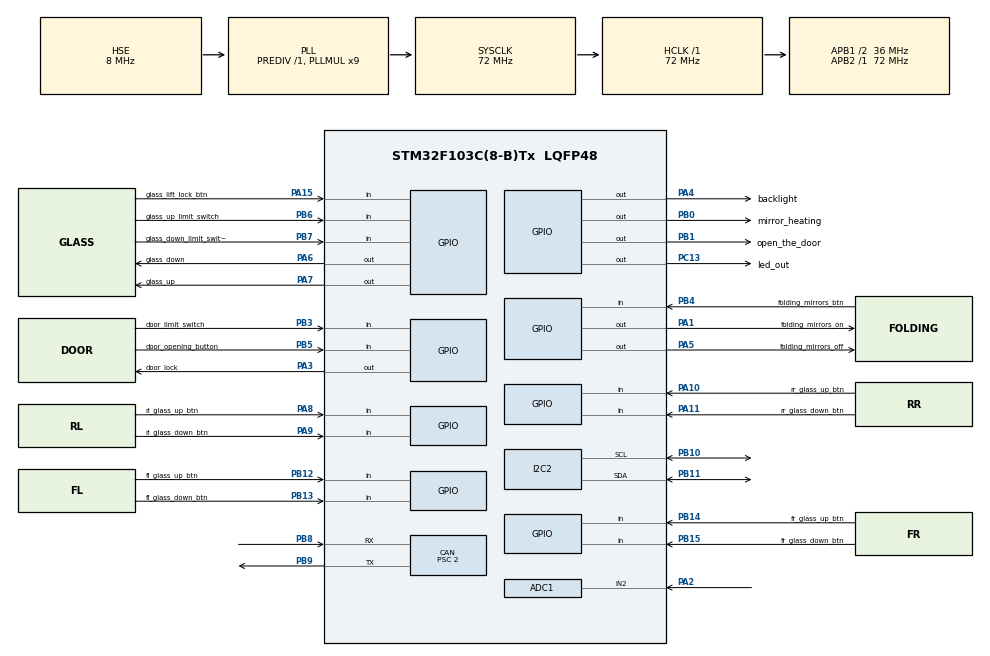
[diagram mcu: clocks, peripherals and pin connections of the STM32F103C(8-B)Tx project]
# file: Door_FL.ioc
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ADC1.Channel-1\#ChannelInjectedConversion=ADC_CHANNEL_2
ADC1.EnableInjectedConversion=ENABLE
ADC1.EnableRegularConversion=DISABLE
ADC1.InjNumberOfConversion=1
ADC1.InjectedOffset-1\#ChannelInjectedConversion=0
ADC1.InjectedRank-1\#ChannelInjectedConversion=1
ADC1.SamplingTime-1\#ChannelInjectedConversion=ADC_SAMPLETIME_239CYCLES_5
ADC1.master=1
CAN.BS1=CAN_BS1_15TQ
CAN.BS2=CAN_BS2_2TQ
CAN.CalculateBaudRate=1000000
CAN.CalculateTimeBit=1000
CAN.CalculateTimeQuantum=55.55555555555556
CAN.Mode=CAN_MODE_NORMAL
CAN.Prescaler=2
FREERTOS.INCLUDE_vTaskDelete=0
FREERTOS.Tasks01=defaultTask,0,128,StartDefaultTask,Default,NULL,Dynamic,NULL,NULL;Display,0,256,ProctDisplay,Default,NULL,Dynamic,NULL,NULL;ButtonRead,0,128,ProctButtonRead,Default,NULL,Dynamic,NULL,NULL;Outputs,-3,128,ProctOutputs,Default,NULL,Dynamic,NULL,NULL;Backlight,0,128,ProctBacklight,Default,NULL,Dynamic,NULL,NULL;FoldingMirrors,0,128,ProctFoldingMirrors,Default,NULL,Dynamic,NULL,NULL;GlassLiftLock,0,128,ProctGlassLiftLock,Default,NULL,Dynamic,NULL,NULL
FREERTOS.configGENERATE_RUN_TIME_STATS=1
FREERTOS.configMINIMAL_STACK_SIZE=128
FREERTOS.configTOTAL_HEAP_SIZE=10240
FREERTOS.configUSE_IDLE_HOOK=1
FREERTOS.configUSE_STATS_FORMATTING_FUNCTIONS=1
FREERTOS.configUSE_TRACE_FACILITY=1
I2C2.I2C_Mode=I2C_Fast
Mcu.Family=STM32F1
Mcu.Name=STM32F103C(8-B)Tx
Mcu.Package=LQFP48
NVIC.ADC1_2_IRQn=true\:5\:0\:false\:false\:true\:true\:true\:true\:true
NVIC.PriorityGroup=NVIC_PRIORITYGROUP_4
NVIC.TIM4_IRQn=true\:15\:0\:false\:false\:true\:false\:false\:true\:true
NVIC.TimeBase=TIM4_IRQn
NVIC.TimeBaseIP=TIM4
NVIC.USB_LP_CAN1_RX0_IRQn=true\:5\:0\:false\:false\:true\:true\:true\:true\:true
PA1.GPIO_Label=folding_mirrors_on
PA1.GPIO_PuPd=GPIO_PULLUP
PA1.Signal=GPIO_Output
PA10.GPIO_Label=rr_glass_up_btn
PA10.GPIO_Mode=GPIO_MODE_INPUT
PA10.GPIO_PuPd=GPIO_PULLUP
PA10.Signal=GPIO_Input
PA11.GPIO_Label=rr_glass_down_btn
PA11.GPIO_Mode=GPIO_MODE_INPUT
PA11.GPIO_PuPd=GPIO_PULLUP
PA11.Signal=GPIO_Input
PA13.Mode=Serial_Wire
PA13.Signal=SYS_JTMS-SWDIO
PA14.Mode=Serial_Wire
PA14.Signal=SYS_JTCK-SWCLK
PA15.GPIO_Label=glass_lift_lock_btn
PA15.GPIO_Mode=GPIO_MODE_INPUT
PA15.GPIO_PuPd=GPIO_PULLUP
PA15.Signal=GPIO_Input
PA2.Signal=ADCx_IN2
PA3.GPIO_Label=door_lock
PA3.GPIO_PuPd=GPIO_PULLDOWN
PA3.Signal=GPIO_Output
PA4.GPIO_Label=backlight
PA4.GPIO_PuPd=GPIO_PULLDOWN
PA4.Signal=GPIO_Output
PA5.GPIO_Label=folding_mirrors_off
PA5.GPIO_ModeDefaultOutputPP=GPIO_MODE_OUTPUT_PP
PA5.GPIO_PuPd=GPIO_PULLDOWN
PA5.GPIO_Speed=GPIO_SPEED_FREQ_LOW
PA5.PinState=GPIO_PIN_RESET
PA5.Signal=GPIO_Output
PA6.GPIO_Label=glass_down
PA6.GPIO_ModeDefaultOutputPP=GPIO_MODE_OUTPUT_PP
PA6.GPIO_PuPd=GPIO_PULLDOWN
PA6.GPIO_Speed=GPIO_SPEED_FREQ_LOW
PA6.PinState=GPIO_PIN_RESET
PA6.Signal=GPIO_Output
PA7.GPIO_Label=glass_up
PA7.GPIO_ModeDefaultOutputPP=GPIO_MODE_OUTPUT_PP
PA7.GPIO_PuPd=GPIO_PULLDOWN
PA7.GPIO_Speed=GPIO_SPEED_FREQ_LOW
PA7.PinState=GPIO_PIN_RESET
PA7.Signal=GPIO_Output
PA8.GPIO_Label=rl_glass_up_btn
PA8.GPIO_Mode=GPIO_MODE_INPUT
PA8.GPIO_PuPd=GPIO_PULLUP
PA8.Signal=GPIO_Input
PA9.GPIO_Label=rl_glass_down_btn
PA9.GPIO_Mode=GPIO_MODE_INPUT
PA9.GPIO_PuPd=GPIO_PULLUP
PA9.Signal=GPIO_Input
PB0.GPIO_Label=mirror_heating
PB0.GPIO_ModeDefaultOutputPP=GPIO_MODE_OUTPUT_PP
PB0.GPIO_PuPd=GPIO_PULLDOWN
PB0.GPIO_Speed=GPIO_SPEED_FREQ_LOW
PB0.PinState=GPIO_PIN_RESET
PB0.Signal=GPIO_Output
PB1.GPIO_Label=open_the_door
PB1.GPIO_ModeDefaultOutputPP=GPIO_MODE_OUTPUT_PP
PB1.GPIO_PuPd=GPIO_PULLDOWN
PB1.GPIO_Speed=GPIO_SPEED_FREQ_LOW
PB1.PinState=GPIO_PIN_RESET
PB1.Signal=GPIO_Output
PB10.Mode=I2C
PB10.Signal=I2C2_SCL
PB11.Mode=I2C
PB11.Signal=I2C2_SDA
PB12.GPIO_Label=fl_glass_up_btn
PB12.GPIO_PuPd=GPIO_PULLUP
PB12.Signal=GPIO_Input
PB13.GPIO_Label=fl_glass_down_btn
PB13.GPIO_PuPd=GPIO_PULLUP
PB13.Signal=GPIO_Input
PB14.GPIO_Label=fr_glass_up_btn
PB14.GPIO_PuPd=GPIO_PULLUP
PB14.Signal=GPIO_Input
PB15.GPIO_Label=fr_glass_down_btn
PB15.GPIO_PuPd=GPIO_PULLUP
PB15.Signal=GPIO_Input
PB3.GPIO_Label=door_limit_switch
PB3.GPIO_PuPd=GPIO_PULLUP
PB3.Signal=GPIO_Input
PB4.GPIO_Label=folding_mirrors_btn
PB4.GPIO_PuPd=GPIO_PULLUP
PB4.Signal=GPIO_Input
PB5.GPIO_Label=door_opening_button
PB5.GPIO_PuPd=GPIO_PULLUP
PB5.Signal=GPIO_Input
PB6.GPIO_Label=glass_up_limit_switch
PB6.GPIO_PuPd=GPIO_PULLUP
PB6.Signal=GPIO_Input
PB7.GPIO_Label=glass_down_limit_switch
PB7.GPIO_PuPd=GPIO_PULLUP
PB7.Signal=GPIO_Input
PB8.Mode=CAN_Activate
PB8.Signal=CAN_RX
PB9.Mode=CAN_Activate
PB9.Signal=CAN_TX
PC13-TAMPER-RTC.GPIO_Label=led_out
PC13-TAMPER-RTC.GPIO_PuPd=GPIO_PULLUP
PC13-TAMPER-RTC.PinState=GPIO_PIN_SET
PC13-TAMPER-RTC.Signal=GPIO_Output
PD0-OSC_IN.Mode=HSE-External-Oscillator
PD0-OSC_IN.Signal=RCC_OSC_IN
PD1-OSC_OUT.Mode=HSE-External-Oscillator
PD1-OSC_OUT.Signal=RCC_OSC_OUT
ProjectManager.HeapSize=0x200
ProjectManager.StackSize=0x400
ProjectManager.TargetToolchain=MDK-ARM V5.32
RCC.ADCPresc=RCC_ADCPCLK2_DIV6
RCC.AHBFreq_Value=72000000
RCC.APB1CLKDivider=RCC_HCLK_DIV2
RCC.APB1Freq_Value=36000000
RCC.APB1TimFreq_Value=72000000
RCC.APB2Freq_Value=72000000
RCC.APB2TimFreq_Value=72000000
RCC.HCLKFreq_Value=72000000
RCC.PLLMUL=RCC_PLL_MUL9
RCC.PLLSourceVirtual=RCC_PLLSOURCE_HSE
RCC.SYSCLKFreq_VALUE=72000000
RCC.SYSCLKSource=RCC_SYSCLKSOURCE_PLLCLK
RCC.USBFreq_Value=72000000
SH.ADCx_IN2.0=ADC1_IN2,IN2
VP_FREERTOS_VS_CMSIS_V1.Mode=CMSIS_V1
VP_SYS_VS_tim4.Mode=TIM4
board=custom

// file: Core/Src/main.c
/* USER CODE BEGIN Header */
/**
  ******************************************************************************
  * @file           : main.c
  * @brief          : Main program body
  ******************************************************************************
  * @attention
  *
  * Copyright (c) 2022 STMicroelectronics.
  * All rights reserved.
  *
  * This software is licensed under terms that can be found in the LICENS
	E fileCan_Tx
  * in the root directory of this software component.
  * If no LICENSE file comes with this software, it is provided AS-IS.
  *
  ******************************************************************************
  */
/* USER CODE END Header */
#include "main.h"
#include "cmsis_os.h"

/* USER CODE BEGIN Includes */
#include <stdio.h>
#include <stdbool.h>
#include "ssd1306.h"
#include "string.h"
/* USER CODE END Includes */

/* USER CODE BEGIN PD */
#define fl_motor_current 15

#define fl_glass_Stop 0
#define fl_glass_Up 1
#define fl_glass_Down 2
//#define fl_glass_closer_On 13
#define fl_glass_closer_Ok 14
//#define fl_glass_blocking_On 15
//#define fl_glass_blocking_Off 16
#define glass_btn_time 150

//#define fl_mirror_heating_On 11
//#define fl_mirror_heating_Off 10
//#define fl_mirror_folding_On 11
//#define fl_mirror_folding_Off 10

#define glass_closer_ok 14

#define fr_glass_Stop 20
#define fr_glass_Up 21
#define fr_glass_Down 22
#define fr_glass_closer_On 23
#define fr_glass_closer_Ok 24
#define fr_glass_blocking_On 25
#define fr_glass_blocking_Off 26

#define fr_mirror_heating_On 21
#define fr_mirror_heating_Off 20
/* USER CODE END PD */

ADC_HandleTypeDef hadc1;

CAN_HandleTypeDef hcan;

I2C_HandleTypeDef hi2c2;

osThreadId defaultTaskHandle;
osThreadId DisplayHandle;
osThreadId ButtonReadHandle;
osThreadId OutputsHandle;
osThreadId BacklightHandle;
osThreadId FoldingMirrorsHandle;
osThreadId GlassLiftLockHandle;
/* USER CODE BEGIN PV */
CAN_TxHeaderTypeDef TxHeader;
CAN_RxHeaderTypeDef RxHeader;
uint8_t TxData[8] = {255,255,255,};
uint8_t RxData[8] = {255,255,255,};
uint32_t TxMailbox = 0;
#define can_addr_door_fl 0x0001
#define can_addr_door_fr 0x0002
bool Can_Rx = 0, Can_Tx = 0;

bool adc1_flag = 0, glass_closer_on = 0, glass_blocking = 0, folding_mirrors_btn_b = 0, glass_lift_lock_btn_b = 0;
float adc1_value = 0, current = 0;

uint8_t fl_glass = 0, fr_glass = 0, rl_glass = 0, rr_glass = 0;

uint16_t fl_glass_btn_time = 0, fr_glass_btn_time = 0, rl_glass_btn_time = 0, rr_glass_btn_time = 0;
uint16_t fl_glass_time = 0;

uint16_t folding_mirrors_btn_time = 0, glass_lift_lock_btn_time = 0;
bool mirror_folding = 0;

bool door_fl_closer_ok = 0, door_fr_closer_ok = 0, glass_closer_all_ok = 0;
/* USER CODE END PV */

void SystemClock_Config(void);
static void MX_GPIO_Init(void);
static void MX_I2C2_Init(void);
static void MX_ADC1_Init(void);
static void MX_CAN_Init(void);
void StartDefaultTask(void const * argument);
void ProctDisplay(void const * argument);
void ProctButtonRead(void const * argument);
void ProctOutputs(void const * argument);
void ProctBacklight(void const * argument);
void ProctFoldingMirrors(void const * argument);
void ProctGlassLiftLock(void const * argument);

/* USER CODE BEGIN 0 */
void HAL_ADCEx_InjectedConvCpltCallback(ADC_HandleTypeDef *hadc) {
	if(hadc->Instance == ADC1){
		adc1_value = HAL_ADCEx_InjectedGetValue(&hadc1, ADC_INJECTED_RANK_1);
		current = (adc1_value*40.0f)/4095;
		adc1_flag = 1;
	}
}

void HAL_CAN_RxFifo0MsgPendingCallback(CAN_HandleTypeDef *hcan)
{
	if(HAL_CAN_GetRxMessage(hcan, CAN_RX_FIFO0, &RxHeader, RxData) == HAL_OK)
  {
		if(RxHeader.StdId == can_addr_door_fl)  Can_Rx = 1;
  }
}

void HAL_CAN_ErrorCallback(CAN_HandleTypeDef *hcan)
{
    uint32_t er = HAL_CAN_GetError(hcan);
//    sprintf(trans_str,"ER CAN %lu %08lX", er, er);
//    HAL_UART_Transmit(&huart1, (uint8_t*)trans_str, strlen(trans_str), 100);
}
/* USER CODE END 0 */

int main(void)
{

  /* MCU Configuration--------------------------------------------------------*/

  /* Reset of all peripherals, Initializes the Flash interface and the Systick. */
  HAL_Init();

  /* Configure the system clock */
  SystemClock_Config();

  /* Initialize all configured peripherals */
  MX_GPIO_Init();
  MX_I2C2_Init();
  MX_ADC1_Init();
  MX_CAN_Init();
  /* USER CODE BEGIN 2 */

	HAL_ADCEx_Calibration_Start(&hadc1);
	HAL_ADCEx_InjectedStart_IT(&hadc1);

	TxHeader.StdId = 0x0001;
	TxHeader.ExtId = 0;
	TxHeader.RTR = CAN_RTR_DATA; //CAN_RTR_REMOTE
	TxHeader.IDE = CAN_ID_STD;   // CAN_ID_EXT
	TxHeader.DLC = 8;
	TxHeader.TransmitGlobalTime = 0;

	HAL_CAN_Start(&hcan);
	HAL_CAN_ActivateNotification(&hcan, CAN_IT_RX_FIFO0_MSG_PENDING | CAN_IT_ERROR | CAN_IT_BUSOFF | CAN_IT_LAST_ERROR_CODE);

	GPIOB->BRR = open_the_door_Pin; // ULN2003a 1
	GPIOB->BRR = mirror_heating_Pin; // ULN2003a 2
	GPIOA->BRR = glass_up_Pin; // реле подьема стекла выкл 3
	GPIOA->BRR = glass_down_Pin; // реле подьема стекла выкл 4
	GPIOA->BRR = folding_mirrors_on_Pin; //
  GPIOA->BRR = folding_mirrors_off_Pin;
	GPIOA->BRR = backlight_Pin; // ULN2003a 6

  /* USER CODE END 2 */

  /* Create the thread(s) */
  /* definition and creation of defaultTask */
  osThreadDef(defaultTask, StartDefaultTask, osPriorityNormal, 0, 128);
  defaultTaskHandle = osThreadCreate(osThread(defaultTask), NULL);

  /* definition and creation of Display */
  osThreadDef(Display, ProctDisplay, osPriorityNormal, 0, 256);
  DisplayHandle = osThreadCreate(osThread(Display), NULL);

  /* definition and creation of ButtonRead */
  osThreadDef(ButtonRead, ProctButtonRead, osPriorityNormal, 0, 128);
  ButtonReadHandle = osThreadCreate(osThread(ButtonRead), NULL);

  /* definition and creation of Outputs */
  osThreadDef(Outputs, ProctOutputs, osPriorityIdle, 0, 128);
  OutputsHandle = osThreadCreate(osThread(Outputs), NULL);

  /* definition and creation of Backlight */
  osThreadDef(Backlight, ProctBacklight, osPriorityNormal, 0, 128);
  BacklightHandle = osThreadCreate(osThread(Backlight), NULL);

  /* definition and creation of FoldingMirrors */
  osThreadDef(FoldingMirrors, ProctFoldingMirrors, osPriorityNormal, 0, 128);
  FoldingMirrorsHandle = osThreadCreate(osThread(FoldingMirrors), NULL);

  /* definition and creation of GlassLiftLock */
  osThreadDef(GlassLiftLock, ProctGlassLiftLock, osPriorityNormal, 0, 128);
  GlassLiftLockHandle = osThreadCreate(osThread(GlassLiftLock), NULL);

  /* Start scheduler */
  osKernelStart();

  /* We should never get here as control is now taken by the scheduler */
  /* Infinite loop */
  while (1)
  {

  }
}

void SystemClock_Config(void)
{
  RCC_OscInitTypeDef RCC_OscInitStruct = {0};
  RCC_ClkInitTypeDef RCC_ClkInitStruct = {0};
  RCC_PeriphCLKInitTypeDef PeriphClkInit = {0};

  /** Initializes the RCC Oscillators according to the specified parameters
  * in the RCC_OscInitTypeDef structure.
  */
  RCC_OscInitStruct.OscillatorType = RCC_OSCILLATORTYPE_HSE;
  RCC_OscInitStruct.HSEState = RCC_HSE_ON;
  RCC_OscInitStruct.HSEPredivValue = RCC_HSE_PREDIV_DIV1;
  RCC_OscInitStruct.HSIState = RCC_HSI_ON;
  RCC_OscInitStruct.PLL.PLLState = RCC_PLL_ON;
  RCC_OscInitStruct.PLL.PLLSource = RCC_PLLSOURCE_HSE;
  RCC_OscInitStruct.PLL.PLLMUL = RCC_PLL_MUL9;
  if (HAL_RCC_OscConfig(&RCC_OscInitStruct) != HAL_OK)
  {
    Error_Handler();
  }

  /** Initializes the CPU, AHB and APB buses clocks
  */
  RCC_ClkInitStruct.ClockType = RCC_CLOCKTYPE_HCLK|RCC_CLOCKTYPE_SYSCLK
                              |RCC_CLOCKTYPE_PCLK1|RCC_CLOCKTYPE_PCLK2;
  RCC_ClkInitStruct.SYSCLKSource = RCC_SYSCLKSOURCE_PLLCLK;
  RCC_ClkInitStruct.AHBCLKDivider = RCC_SYSCLK_DIV1;
  RCC_ClkInitStruct.APB1CLKDivider = RCC_HCLK_DIV2;
  RCC_ClkInitStruct.APB2CLKDivider = RCC_HCLK_DIV1;

  if (HAL_RCC_ClockConfig(&RCC_ClkInitStruct, FLASH_LATENCY_2) != HAL_OK)
  {
    Error_Handler();
  }
  PeriphClkInit.PeriphClockSelection = RCC_PERIPHCLK_ADC;
  PeriphClkInit.AdcClockSelection = RCC_ADCPCLK2_DIV6;
  if (HAL_RCCEx_PeriphCLKConfig(&PeriphClkInit) != HAL_OK)
  {
    Error_Handler();
  }
}

static void MX_ADC1_Init(void)
{

  ADC_InjectionConfTypeDef sConfigInjected = {0};

  /** Common config
  */
  hadc1.Instance = ADC1;
  hadc1.Init.ScanConvMode = ADC_SCAN_DISABLE;
  hadc1.Init.ContinuousConvMode = DISABLE;
  hadc1.Init.DiscontinuousConvMode = DISABLE;
  hadc1.Init.ExternalTrigConv = ADC_SOFTWARE_START;
  hadc1.Init.DataAlign = ADC_DATAALIGN_RIGHT;
  hadc1.Init.NbrOfConversion = 1;
  if (HAL_ADC_Init(&hadc1) != HAL_OK)
  {
    Error_Handler();
  }

  /** Configure Injected Channel
  */
  sConfigInjected.InjectedChannel = ADC_CHANNEL_2;
  sConfigInjected.InjectedRank = ADC_INJECTED_RANK_1;
  sConfigInjected.InjectedNbrOfConversion = 1;
  sConfigInjected.InjectedSamplingTime = ADC_SAMPLETIME_239CYCLES_5;
  sConfigInjected.ExternalTrigInjecConv = ADC_INJECTED_SOFTWARE_START;
  sConfigInjected.AutoInjectedConv = DISABLE;
  sConfigInjected.InjectedDiscontinuousConvMode = DISABLE;
  sConfigInjected.InjectedOffset = 0;
  if (HAL_ADCEx_InjectedConfigChannel(&hadc1, &sConfigInjected) != HAL_OK)
  {
    Error_Handler();
  }

}

static void MX_CAN_Init(void)
{

  /* USER CODE BEGIN CAN_Init 0 */
	CAN_FilterTypeDef  sFilterConfig;
  /* USER CODE END CAN_Init 0 */

  hcan.Instance = CAN1;
  hcan.Init.Prescaler = 2;
  hcan.Init.Mode = CAN_MODE_NORMAL;
  hcan.Init.SyncJumpWidth = CAN_SJW_1TQ;
  hcan.Init.TimeSeg1 = CAN_BS1_15TQ;
  hcan.Init.TimeSeg2 = CAN_BS2_2TQ;
  hcan.Init.TimeTriggeredMode = DISABLE;
  hcan.Init.AutoBusOff = DISABLE;
  hcan.Init.AutoWakeUp = DISABLE;
  hcan.Init.AutoRetransmission = DISABLE;
  hcan.Init.ReceiveFifoLocked = DISABLE;
  hcan.Init.TransmitFifoPriority = DISABLE;
  if (HAL_CAN_Init(&hcan) != HAL_OK)
  {
    Error_Handler();
  }
  /* USER CODE BEGIN CAN_Init 2 */
	sFilterConfig.FilterBank = 0;
	sFilterConfig.FilterMode = CAN_FILTERMODE_IDMASK;
	sFilterConfig.FilterScale = CAN_FILTERSCALE_32BIT;
	sFilterConfig.FilterIdHigh = 0x0000;
	sFilterConfig.FilterIdLow = 0x0000;
	sFilterConfig.FilterMaskIdHigh = 0x0000;
	sFilterConfig.FilterMaskIdLow = 0x0000;
	sFilterConfig.FilterFIFOAssignment = CAN_RX_FIFO0;
	sFilterConfig.FilterActivation = ENABLE;
	//sFilterConfig.SlaveStartFilterBank = 14;

	if(HAL_CAN_ConfigFilter(&hcan, &sFilterConfig) != HAL_OK)
	{
	Error_Handler();
	}
  /* USER CODE END CAN_Init 2 */

}

static void MX_I2C2_Init(void)
{

  hi2c2.Instance = I2C2;
  hi2c2.Init.ClockSpeed = 400000;
  hi2c2.Init.DutyCycle = I2C_DUTYCYCLE_2;
  hi2c2.Init.OwnAddress1 = 0;
  hi2c2.Init.AddressingMode = I2C_ADDRESSINGMODE_7BIT;
  hi2c2.Init.DualAddressMode = I2C_DUALADDRESS_DISABLE;
  hi2c2.Init.OwnAddress2 = 0;
  hi2c2.Init.GeneralCallMode = I2C_GENERALCALL_DISABLE;
  hi2c2.Init.NoStretchMode = I2C_NOSTRETCH_DISABLE;
  if (HAL_I2C_Init(&hi2c2) != HAL_OK)
  {
    Error_Handler();
  }

}

static void MX_GPIO_Init(void)
{
  GPIO_InitTypeDef GPIO_InitStruct = {0};

  /* GPIO Ports Clock Enable */
  __HAL_RCC_GPIOC_CLK_ENABLE();
  __HAL_RCC_GPIOD_CLK_ENABLE();
  __HAL_RCC_GPIOA_CLK_ENABLE();
  __HAL_RCC_GPIOB_CLK_ENABLE();

  /*Configure GPIO pin Output Level */
  HAL_GPIO_WritePin(led_out_GPIO_Port, led_out_Pin, GPIO_PIN_SET);

  /*Configure GPIO pin Output Level */
  HAL_GPIO_WritePin(GPIOA, folding_mirrors_on_Pin|door_lock_Pin|backlight_Pin|folding_mirrors_off_Pin
                          |glass_down_Pin|glass_up_Pin, GPIO_PIN_RESET);

  /*Configure GPIO pin Output Level */
  HAL_GPIO_WritePin(GPIOB, mirror_heating_Pin|open_the_door_Pin, GPIO_PIN_RESET);

  /*Configure GPIO pin : led_out_Pin */
  GPIO_InitStruct.Pin = led_out_Pin;
  GPIO_InitStruct.Mode = GPIO_MODE_OUTPUT_PP;
  GPIO_InitStruct.Pull = GPIO_PULLUP;
  GPIO_InitStruct.Speed = GPIO_SPEED_FREQ_LOW;
  HAL_GPIO_Init(led_out_GPIO_Port, &GPIO_InitStruct);

  /*Configure GPIO pin : folding_mirrors_on_Pin */
  GPIO_InitStruct.Pin = folding_mirrors_on_Pin;
  GPIO_InitStruct.Mode = GPIO_MODE_OUTPUT_PP;
  GPIO_InitStruct.Pull = GPIO_PULLUP;
  GPIO_InitStruct.Speed = GPIO_SPEED_FREQ_LOW;
  HAL_GPIO_Init(folding_mirrors_on_GPIO_Port, &GPIO_InitStruct);

  /*Configure GPIO pins : door_lock_Pin backlight_Pin folding_mirrors_off_Pin glass_down_Pin
                           glass_up_Pin */
  GPIO_InitStruct.Pin = door_lock_Pin|backlight_Pin|folding_mirrors_off_Pin|glass_down_Pin
                          |glass_up_Pin;
  GPIO_InitStruct.Mode = GPIO_MODE_OUTPUT_PP;
  GPIO_InitStruct.Pull = GPIO_PULLDOWN;
  GPIO_InitStruct.Speed = GPIO_SPEED_FREQ_LOW;
  HAL_GPIO_Init(GPIOA, &GPIO_InitStruct);

  /*Configure GPIO pins : mirror_heating_Pin open_the_door_Pin */
  GPIO_InitStruct.Pin = mirror_heating_Pin|open_the_door_Pin;
  GPIO_InitStruct.Mode = GPIO_MODE_OUTPUT_PP;
  GPIO_InitStruct.Pull = GPIO_PULLDOWN;
  GPIO_InitStruct.Speed = GPIO_SPEED_FREQ_LOW;
  HAL_GPIO_Init(GPIOB, &GPIO_InitStruct);

  /*Configure GPIO pins : fl_glass_up_btn_Pin fl_glass_down_btn_Pin fr_glass_up_btn_Pin fr_glass_down_btn_Pin
                           door_limit_switch_Pin folding_mirrors_btn_Pin door_opening_button_Pin glass_up_limit_switch_Pin
                           glass_down_limit_switch_Pin */
  GPIO_InitStruct.Pin = fl_glass_up_btn_Pin|fl_glass_down_btn_Pin|fr_glass_up_btn_Pin|fr_glass_down_btn_Pin
                          |door_limit_switch_Pin|folding_mirrors_btn_Pin|door_opening_button_Pin|glass_up_limit_switch_Pin
                          |glass_down_limit_switch_Pin;
  GPIO_InitStruct.Mode = GPIO_MODE_INPUT;
  GPIO_InitStruct.Pull = GPIO_PULLUP;
  HAL_GPIO_Init(GPIOB, &GPIO_InitStruct);

  /*Configure GPIO pins : rl_glass_up_btn_Pin rl_glass_down_btn_Pin rr_glass_up_btn_Pin rr_glass_down_btn_Pin
                           glass_lift_lock_btn_Pin */
  GPIO_InitStruct.Pin = rl_glass_up_btn_Pin|rl_glass_down_btn_Pin|rr_glass_up_btn_Pin|rr_glass_down_btn_Pin
                          |glass_lift_lock_btn_Pin;
  GPIO_InitStruct.Mode = GPIO_MODE_INPUT;
  GPIO_InitStruct.Pull = GPIO_PULLUP;
  HAL_GPIO_Init(GPIOA, &GPIO_InitStruct);

}

/* USER CODE BEGIN 4 */
void glass_stop(uint8_t glass)
{
	switch (glass)
  {
  	case 1:
			fl_glass_time = 0;
			fl_glass = fl_glass_Stop;
			GPIOA->BRR = glass_up_Pin; // реле подьема стекла выкл
			GPIOA->BRR = glass_down_Pin; // реле опускания стекла выкл
			break;
  	case 2:
			fr_glass = fl_glass_Stop;
			TxHeader.StdId = can_addr_door_fr;
			TxData[0] = fr_glass_Stop; //
  		break;
//  	case 3:
//			rl_glass = glass_Stop;
//			TxHeader.StdId = 0x0003;
//			TxData[0] = glass_Stop; //
//  		break;
//  	case 4:
//			rr_glass = glass_Stop;
//			TxHeader.StdId = 0x0004;
//			TxData[0] = glass_Stop; //
//  		break;
  	default:
  		break;
  }
//	Can_Tx = 1;
//	while(Can_Tx) osDelay(10);
	while(HAL_CAN_GetTxMailboxesFreeLevel(&hcan) == 0);
	if(HAL_CAN_AddTxMessage(&hcan, &TxHeader, TxData, &TxMailbox) != HAL_OK)
  {
//		HAL_UART_Transmit(&huart1, (uint8_t*)"ER SEND\n", 8, 100);
  }
	//RxData[0] = 255; //
	TxData[0] = 255; //
}
void glass_up(uint8_t glass)
{
	switch (glass)
  {
  	case 1:
			fl_glass_time = 0;
			fl_glass = fl_glass_Up;
			GPIOA->BSRR = glass_up_Pin; // реле подьема стекла вкл
			GPIOA->BRR = glass_down_Pin; // реле опускания стекла выкл
			break;
  	case 2:
			fr_glass = fl_glass_Up;
			TxHeader.StdId = can_addr_door_fr;
			TxData[0] = fr_glass_Up; //
  		break;
//  	case 3:
//			rl_glass = glass_Up;
//			TxHeader.StdId = 0x0003;
//			TxData[0] = glass_Up; //
//  		break;
//  	case 4:
//			rr_glass = glass_Up;
//			TxHeader.StdId = 0x0004;
//			TxData[0] = glass_Up; //
//  		break;
  	default:
  		break;
  }
//	Can_Tx = 1;
	while(HAL_CAN_GetTxMailboxesFreeLevel(&hcan) == 0);
	if(HAL_CAN_AddTxMessage(&hcan, &TxHeader, TxData, &TxMailbox) != HAL_OK)
  {
//		HAL_UART_Transmit(&huart1, (uint8_t*)"ER SEND\n", 8, 100);
  }
	//RxData[0] = 255; //
	TxData[0] = 255; //
}
void glass_down(uint8_t glass)
{
	switch (glass)
  {
  	case 1:
			fl_glass_time = 0;
			fl_glass = fl_glass_Down;
			GPIOA->BRR = glass_up_Pin; // реле подьема стекла выкл
			GPIOA->BSRR = glass_down_Pin; // реле подьема стекла выкл
			break;
  	case 2:
			fr_glass = fl_glass_Down;
			TxHeader.StdId = can_addr_door_fr;
			TxData[0] = fr_glass_Down; //
  		break;
//  	case 3:
//			rl_glass = glass_Down;
//			TxHeader.StdId = 0x0003;
//			TxData[0] = glass_Down; //
//  		break;
//  	case 4:
//			rr_glass = glass_Down;
//			TxHeader.StdId = 0x0004;
//			TxData[0] = glass_Down; //
//			break;
  	default:
  		break;
  }
//	Can_Tx = 1;
	while(HAL_CAN_GetTxMailboxesFreeLevel(&hcan) == 0);
	if(HAL_CAN_AddTxMessage(&hcan, &TxHeader, TxData, &TxMailbox) != HAL_OK)
  {
//		HAL_UART_Transmit(&huart1, (uint8_t*)"ER SEND\n", 8, 100);
  }
	//RxData[0] = 255; //
	TxData[0] = 255; //
}

void glass_closer()
{
	glass_closer_on = 1;
	GPIOA->BSRR = glass_up_Pin; // реле подьема стекла вкл
	GPIOA->BRR = glass_down_Pin; // реле опускания стекла выкл
	while(!door_fl_closer_ok) osDelay(10);
	osDelay(1000);
	TxHeader.StdId = can_addr_door_fr;
	TxData[0] = fr_glass_closer_On;
//	Can_Tx = 1;
	while(HAL_CAN_GetTxMailboxesFreeLevel(&hcan) == 0);
	if(HAL_CAN_AddTxMessage(&hcan, &TxHeader, TxData, &TxMailbox) != HAL_OK)
  {
//		HAL_UART_Transmit(&huart1, (uint8_t*)"ER SEND\n", 8, 100);
  }
	TxData[0] = 255; //
//	while(!door_fr_closer_ok) osDelay(10);

	osDelay(5000);
	glass_closer_all_ok = 1;

	TxHeader.StdId = 0x0009;
	TxData[0] = glass_closer_ok; // придумать что отправить на главный бк о том что все стекла закрыты
//	Can_Tx = 1;
	while(HAL_CAN_GetTxMailboxesFreeLevel(&hcan) == 0);
	if(HAL_CAN_AddTxMessage(&hcan, &TxHeader, TxData, &TxMailbox) != HAL_OK)
  {
//		HAL_UART_Transmit(&huart1, (uint8_t*)"ER SEND\n", 8, 100);
  }
	//RxData[0] = 255; //
	TxData[0] = 255; //
	glass_closer_on = 0;
	door_fl_closer_ok = 0;
	door_fr_closer_ok = 0;
	door_fr_closer_ok = 0;
	glass_closer_all_ok = 0;
}

void glass_blocking_on()
{
//	RxData[0] = 255; //
	glass_blocking = 1;
	TxHeader.StdId = can_addr_door_fr;
	TxData[0] = fr_glass_blocking_On; //
//	Can_Tx = 1;
	while(HAL_CAN_GetTxMailboxesFreeLevel(&hcan) == 0);
	if(HAL_CAN_AddTxMessage(&hcan, &TxHeader, TxData, &TxMailbox) != HAL_OK)
  {
//		HAL_UART_Transmit(&huart1, (uint8_t*)"ER SEND\n", 8, 100);
  }
	//RxData[0] = 255; //
	TxData[0] = 255; //
}

void glass_blocking_off()
{
//	RxData[0] = 255; //
	glass_blocking = 0;
	TxHeader.StdId = can_addr_door_fr;
	TxData[0] = fr_glass_blocking_Off; //
//	Can_Tx = 1;
	while(HAL_CAN_GetTxMailboxesFreeLevel(&hcan) == 0);
	if(HAL_CAN_AddTxMessage(&hcan, &TxHeader, TxData, &TxMailbox) != HAL_OK)
  {
//		HAL_UART_Transmit(&huart1, (uint8_t*)"ER SEND\n", 8, 100);
  }
	//RxData[0] = 255; //
	TxData[0] = 255; //
}

void mirror_folding_on()
{
//	RxData[1] = 255; //
	GPIOA->BSRR = folding_mirrors_on_Pin; // выход на контроллер складывания зеркал
	osDelay(5000);
	GPIOA->BRR = folding_mirrors_on_Pin;
	mirror_folding = 1;
	//RxData[1] = 255; //
	TxData[1] = 255; //
}

void mirror_folding_off()
{
//	RxData[1] = 255; //
	GPIOA->BSRR = folding_mirrors_off_Pin; // выход на контроллер раскладывания зеркал
	osDelay(5000);
	GPIOA->BRR = folding_mirrors_off_Pin;
	mirror_folding = 0;
	//RxData[1] = 255; //
	TxData[1] = 255; //
}

void mirror_heating_on()
{
//	RxData[2] = 255; //
	GPIOB->BSRR = mirror_heating_Pin;
	TxHeader.StdId = can_addr_door_fr;
	TxData[2] = fr_mirror_heating_On; //
//	Can_Tx = 1;
	while(HAL_CAN_GetTxMailboxesFreeLevel(&hcan) == 0);
	if(HAL_CAN_AddTxMessage(&hcan, &TxHeader, TxData, &TxMailbox) != HAL_OK)
  {

//		HAL_UART_Transmit(&huart1, (uint8_t*)"ER SEND\n", 8, 100);
  }
	//RxData[2] = 255; //
	TxData[2] = 255; //
}
void mirror_heating_off()
{
//	RxData[2] = 255; //
	GPIOB->BRR = mirror_heating_Pin;
	TxHeader.StdId = can_addr_door_fr;
	TxData[2] = fr_mirror_heating_Off; //
	Can_Tx = 1;
//	while(HAL_CAN_GetTxMailboxesFreeLevel(&hcan) == 0);
//	if(HAL_CAN_AddTxMessage(&hcan, &TxHeader, TxData, &TxMailbox) != HAL_OK)
//  {
////		HAL_UART_Transmit(&huart1, (uint8_t*)"ER SEND\n", 8, 100);
//  }
//	//RxData[2] = 255; //
//	TxData[2] = 255; //
}
/* USER CODE END 4 */

void StartDefaultTask(void const * argument)
{
  /* USER CODE BEGIN 5 */
  /* Infinite loop */
  for(;;)
  {
		if (adc1_flag) {
			adc1_flag = 0;
			HAL_ADCEx_InjectedStart_IT(&hadc1);
		}
    osDelay(10);
  }
  /* USER CODE END 5 */
}

void ProctDisplay(void const * argument)
{
  for(;;)
  {
		osDelay(1);
	}
}

void ProctButtonRead(void const * argument)
{
  /* USER CODE BEGIN ProctButtonRead */
  /* Infinite loop */
  for(;;)
  {
		if(!Can_Rx && !glass_closer_on){
			if(!(GPIOB->IDR &fl_glass_up_btn_Pin)) { // кнопка подьема FL стекла
				if(!fl_glass){
					fl_glass_btn_time = 0;
					glass_up(1);
				}
				fl_glass_btn_time++;
			}
			else {
				if(fl_glass == fl_glass_Up && fl_glass_btn_time>glass_btn_time) glass_stop(1);
			}
		}

		if(!(GPIOB->IDR &fl_glass_down_btn_Pin)) { // кнопка опускания FL стекла
			if(!fl_glass){
				fl_glass_btn_time = 0;
				glass_down(1); // нужно сделать двойнок клик
			}
			fl_glass_btn_time++;
		}
		else {
			if(fl_glass == fl_glass_Down && fl_glass_btn_time>glass_btn_time) glass_stop(1);
		}

		if((GPIOA->IDR &glass_up_Pin || GPIOA->IDR &glass_down_Pin ) && current>fl_motor_current){ // отключение п току
			osDelay(100);
			if(current>fl_motor_current || fl_glass_time>50){
				glass_stop(1);
				if(glass_closer_on) {
					door_fl_closer_ok = 1;
				}
				osDelay(300);
			}
		}

//---------------------------------------------------------------------------------------------------------
		if(!(GPIOB->IDR &fr_glass_up_btn_Pin)) { // кнопка подьема FR стекла
			if(!fr_glass){
				fr_glass_btn_time = 0;
				glass_up(2);
			}
			fr_glass_btn_time++;
		}
		else {
			if(fr_glass == fl_glass_Up && fr_glass_btn_time>glass_btn_time) glass_stop(2);
		}

		if(!(GPIOB->IDR &fr_glass_down_btn_Pin)) { // кнопка опускания FR стекла
			if(!fr_glass){
				fr_glass_btn_time = 0;
				glass_down(2);
			}
			fr_glass_btn_time++;
		}
		else {
			if(fr_glass == fl_glass_Down && fr_glass_btn_time>glass_btn_time) glass_stop(2);
		}

//---------------------------------------------------------------------------------------------------------
//		if(!(GPIOA->IDR &rl_glass_up_btn_Pin)) { // кнопка подьема RL стекла
//			if(!rl_glass){
//				rl_glass_btn_time = 0;
//				glass_up(1);
//			}
//			rl_glass_btn_time++;
//		}
//		else {
//			if(rl_glass == up && rl_glass_btn_time>15) glass_stop(3);
//		}
//
//		if(!(GPIOA->IDR &rl_glass_down_btn_Pin)) { // кнопка опускания RL стекла
//			if(!rl_glass){
//				rl_glass_btn_time = 0;
//				glass_down(3);
//			}
//			rl_glass_btn_time++;
//		}
//		else {
//			if(rl_glass == down && rl_glass_btn_time>15) glass_stop(3);
//		}
//
////---------------------------------------------------------------------------------------------------------
//		if(!(GPIOA->IDR &rr_glass_up_btn_Pin)) { // кнопка подьема RR стекла
//			if(!rr_glass){
//				rr_glass_btn_time = 0;
//				glass_up(4);
//			}
//			rr_glass_btn_time++;
//		}
//		else {
//			if(rr_glass == up && rr_glass_btn_time>15) glass_stop(4);
//		}
//
//		if(!(GPIOA->IDR &rr_glass_down_btn_Pin)) { // кнопка опускания RR стекла
//			if(!rr_glass){
//				rr_glass_btn_time = 0;
//				glass_down(4);
//			}
//			rr_glass_btn_time++;
//		}
//		else {
//			if(rr_glass == down && rr_glass_btn_time>15) glass_stop(4);
//		}

		osDelay(1);
  }
  /* USER CODE END ProctButtonRead */
}

void ProctOutputs(void const * argument)
{
  /* USER CODE BEGIN ProctOutputs */
  /* Infinite loop */
  for(;;)
  {
		if(Can_Rx){ //добавил if проверю как работает
			Can_Rx = 0;
			if(RxData[2] != 255){
				switch (RxData[2])
				{
					case 10: RxData[2] = 255; mirror_heating_off();
						break;
					case 11: RxData[2] = 255; mirror_heating_on();
						break;
	//				default:
	//					break;
				}
			}

			if(RxData[1] != 255){
				switch (RxData[1])
				{
					case 10: RxData[1] = 255; mirror_folding_on();
						break;
					case 11: RxData[1] = 255; mirror_folding_off();
						break;
	//				default:
	//					break;
				}
			}

			if(RxData[0] != 255){
				switch (RxData[0])
				{
					case 10: RxData[0] = 255; glass_stop(1);
						break;
					case 11: RxData[0] = 255; glass_up(1);
						break;
					case 12: RxData[0] = 255; glass_down(1);
						break;
					case 13: RxData[0] = 255; glass_closer();
						break;
					case 15: RxData[0] = 255; glass_blocking_on();
						break;
					case 16: RxData[0] = 255; glass_blocking_off();
						break;
					case fr_glass_closer_Ok: RxData[0] = 255; door_fr_closer_ok = 1;
						break;
	//				default:
	//					break;
				}
			}
		}

		if(Can_Tx){
			while(HAL_CAN_GetTxMailboxesFreeLevel(&hcan) == 0);
			if(HAL_CAN_AddTxMessage(&hcan, &TxHeader, TxData, &TxMailbox) != HAL_OK)
			{
		//		HAL_UART_Transmit(&huart1, (uint8_t*)"ER SEND\n", 8, 100);
			}
			TxData[0] = 255;
			TxData[1] = 255;
			TxData[2] = 255;
			Can_Tx = 0;
		}
	  osDelay(10);
  }
  /* USER CODE END ProctOutputs */
}

void ProctBacklight(void const * argument)
{
  /* USER CODE BEGIN ProctBacklight */
  /* Infinite loop */
  for(;;)
  {
		if( !(GPIOB->IDR &door_limit_switch_Pin) ) { // концевик двери
			if(!(GPIOA->IDR &backlight_Pin)) GPIOA->BSRR = backlight_Pin; // выход uln2003a на подсветку
		}
		else if(GPIOA->IDR &backlight_Pin) GPIOA->BRR = backlight_Pin; // выход uln2003a на подсветку

		if( !(GPIOB->IDR &door_opening_button_Pin) ) { // кнопка открытия двери
			GPIOA->BSRR = open_the_door_Pin; // выход uln2003a на мотор открытия двери
			osDelay(1000);
			GPIOA->BRR = open_the_door_Pin; // выход uln2003a на мотор открытия двери
		}

    osDelay(100);
  }
  /* USER CODE END ProctBacklight */
}

void ProctFoldingMirrors(void const * argument)
{
  /* USER CODE BEGIN ProctFoldingMirrors */
  /* Infinite loop */
  for(;;)
  {
		if(!(GPIOB->IDR &folding_mirrors_btn_Pin)) { // кнопка складывания зеркал
			if(!folding_mirrors_btn_b){
				folding_mirrors_btn_time = 0;
				folding_mirrors_btn_b = 1;
			}
			folding_mirrors_btn_time++;

			if(folding_mirrors_btn_time>350){
				if(!(GPIOB->IDR &mirror_heating_Pin)) mirror_heating_on();
				else mirror_heating_off();
				while(!(GPIOB->IDR &folding_mirrors_btn_Pin)) osDelay(1);
			}
		}
		else {
			if(folding_mirrors_btn_time && folding_mirrors_btn_time<250){
				if(!mirror_folding ) mirror_folding_on(); // выход uln2003a на контроллер складывания зеркал
				else mirror_folding_off();
			}
			folding_mirrors_btn_b = 0;
			folding_mirrors_btn_time = 0;
		}

    osDelay(1);
  }
  /* USER CODE END ProctFoldingMirrors */
}

void ProctGlassLiftLock(void const * argument)
{
  /* USER CODE BEGIN ProctGlassLiftLock */
  /* Infinite loop */
  for(;;)
  {
		if(!(GPIOA->IDR &glass_lift_lock_btn_Pin)) { // кнопка блокировка кнопок пасажирских стеклоподъемников
			if(!glass_lift_lock_btn_b){
				glass_lift_lock_btn_time = 0;
				glass_lift_lock_btn_b = 1;
			}
			glass_lift_lock_btn_time++;

			if(glass_lift_lock_btn_time>350){
				if(!glass_blocking) glass_blocking_on();
				else glass_blocking_off();
				while(!(GPIOB->IDR &glass_lift_lock_btn_Pin)) osDelay(10);
			}
		}
		else {
			if(glass_lift_lock_btn_time && glass_lift_lock_btn_time<250){
				GPIOA->BSRR = door_lock_Pin; // выход uln2003a на штатную блокировка замка
				osDelay(100);
				GPIOA->BRR = door_lock_Pin;
			}
			glass_lift_lock_btn_b = 0;
			glass_lift_lock_btn_time = 0;
		}
    osDelay(1);
  }
  /* USER CODE END ProctGlassLiftLock */
}

void HAL_TIM_PeriodElapsedCallback(TIM_HandleTypeDef *htim)
{
  if (htim->Instance == TIM4) {
    HAL_IncTick();
  }
}

void Error_Handler(void)
{
  __disable_irq();
  while (1)
  {
  }
}
